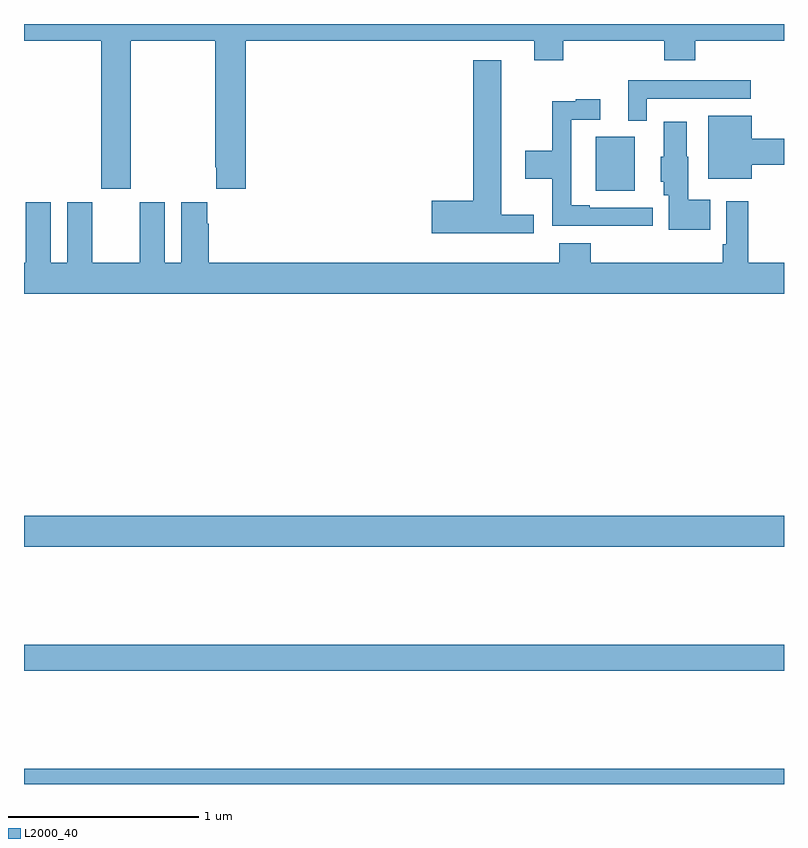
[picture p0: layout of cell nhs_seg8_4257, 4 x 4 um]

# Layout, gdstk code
import gdstk
lib = gdstk.Library(unit=1e-6, precision=1e-09)
def R(c, l, rs):  # rectangles x0, y0, x1, y1
    for r in rs: c.add(gdstk.rectangle(r[:2], r[2:], *l))
def P(c, l, *ps):  # polygons
    for p in ps: c.add(gdstk.Polygon(p, *l))
L2000_40 = (2000, 40)

nhs_seg8_4257 = lib.new_cell('nhs_seg8_4257')
R(nhs_seg8_4257, L2000_40, [(371,1133.9,375,1133.98), (371,1134.496,375,1134.632), (371,1135.148,375,1135.312), (374.009,1137.023,374.215,1137.307)])
P(nhs_seg8_4257, L2000_40, [(371.562,1137.812),(372.007,1137.812),(372.007,1137.145),(372.011,1137.145),(372.011,1137.033),(372.167,1137.033),(372.167,1137.812),(373.685,1137.812),(373.685,1137.71),(373.838,1137.71),(373.838,1137.812),(374.369,1137.812),(374.369,1137.71),(374.534,1137.71),(374.534,1137.812),(375,1137.812),(375,1137.9),(371,1137.9),(371,1137.812),(371.407,1137.812),(371.407,1137.033),(371.562,1137.033)],
  [(373.684,1136.897),(373.513,1136.897),(373.513,1137.709),(373.364,1137.709),(373.364,1136.969),(373.146,1136.969),(373.146,1136.798),(373.684,1136.798)],
  [(374.277,1137.507),(374.824,1137.507),(374.824,1137.603),(374.18,1137.603),(374.18,1137.392),(374.277,1137.392)],
  [(374.308,1136.934),(373.978,1136.934),(373.978,1136.947),(373.881,1136.947),(373.881,1137.396),(374.032,1137.396),(374.032,1137.505),(373.904,1137.505),(373.904,1137.494),(373.78,1137.494),(373.78,1137.234),(373.638,1137.234),(373.638,1137.086),(373.78,1137.086),(373.78,1136.838),(374.065,1136.838),(374.065,1136.837),(374.308,1136.837)],
  [(374.83,1137.16),(375,1137.16),(375,1137.296),(374.83,1137.296),(374.83,1137.418),(374.6,1137.418),(374.6,1137.086),(374.83,1137.086)],
  [(374.612,1136.974),(374.497,1136.974),(374.497,1137.201),(374.488,1137.201),(374.488,1137.385),(374.366,1137.385),(374.366,1137.201),(374.351,1137.201),(374.351,1137.069),(374.366,1137.069),(374.366,1137),(374.393,1137),(374.393,1136.816),(374.612,1136.816)],
  [(375,1136.644),(374.813,1136.644),(374.813,1136.968),(374.697,1136.968),(374.697,1136.74),(374.677,1136.74),(374.677,1136.644),(373.982,1136.644),(373.982,1136.746),(373.817,1136.746),(373.817,1136.644),(371.972,1136.644),(371.972,1136.849),(371.965,1136.849),(371.965,1136.962),(371.828,1136.962),(371.828,1136.644),(371.74,1136.644),(371.74,1136.962),(371.609,1136.962),(371.609,1136.644),(371.359,1136.644),(371.359,1136.962),(371.228,1136.962),(371.228,1136.644),(371.14,1136.644),(371.14,1136.962),(371.009,1136.962),(371.009,1136.644),(371,1136.644),(371,1136.48),(375,1136.48)])

lib.write_gds('nhs_seg8_4257.gds')
